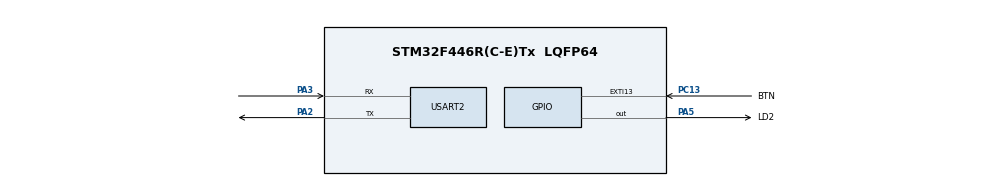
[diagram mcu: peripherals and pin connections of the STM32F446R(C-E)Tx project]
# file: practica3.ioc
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Mcu.Family=STM32F4
Mcu.Name=STM32F446R(C-E)Tx
Mcu.Package=LQFP64
NVIC.PriorityGroup=NVIC_PRIORITYGROUP_4
PA13.Mode=Serial_Wire
PA13.Signal=SYS_JTMS-SWDIO
PA14.Mode=Serial_Wire
PA14.Signal=SYS_JTCK-SWCLK
PA2.Mode=Asynchronous
PA2.Signal=USART2_TX
PA3.Mode=Asynchronous
PA3.Signal=USART2_RX
PA5.GPIO_Label=LD2
PA5.Signal=GPIO_Output
PC13.GPIO_Label=BTN
PC13.Signal=GPXTI13
ProjectManager.HeapSize=0x200
ProjectManager.StackSize=0x400
ProjectManager.TargetToolchain=STM32CubeIDE
RCC.CortexFreq_Value=16000000
RCC.USBFreq_Value=96000000
RCC.VCOOutputFreq_Value=192000000
USART2.VirtualMode=VM_ASYNC
board=custom

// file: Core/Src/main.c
/* USER CODE BEGIN Header */
/**
 ******************************************************************************
 * @file           : main.c
 * @brief          : Main program body
 ******************************************************************************
 * @attention
 *
 * Copyright (c) 2025 STMicroelectronics.
 * All rights reserved.
 *
 * This software is licensed under terms that can be found in the LICENSE file
 * in the root directory of this software component.
 * If no LICENSE file comes with this software, it is provided AS-IS.
 *
 ******************************************************************************
 */
/* USER CODE END Header */
#include "main.h"

/* USER CODE BEGIN Includes */

#include "practica.h"

/* USER CODE END Includes */

UART_HandleTypeDef huart2;

void SystemClock_Config(void);
static void MX_GPIO_Init(void);
static void MX_USART2_UART_Init(void);

/* USER CODE BEGIN 0 */

const tick_t T_100MS = 100; /**< Duración de 100 ms. */
const tick_t T_200MS = 200; /**< Duración de 200 ms. */
const tick_t T_500MS = 500; /**< Duración de 500 ms. */
const tick_t T_1S = 1000; /**< Duración de 1 segundo. */
const times_t MAX_TIMES = 5; /**< Número máximo de repeticiones. */

/* USER CODE END 0 */

int main(void)
{

  /* MCU Configuration--------------------------------------------------------*/

  /* Reset of all peripherals, Initializes the Flash interface and the Systick. */
  HAL_Init();

  /* Configure the system clock */
  SystemClock_Config();

  /* Initialize all configured peripherals */
  MX_GPIO_Init();
  MX_USART2_UART_Init();
  /* USER CODE BEGIN 2 */

	delay_t delay;
	delay_time_matrix_t timeMatrix;

	// Inicialización de la matriz de duraciones con el mismo valor de repeticiones para cada duración.
	duration_times_t durations[] = {
			{T_500MS, MAX_TIMES},
			{T_100MS, MAX_TIMES},
			{T_100MS, MAX_TIMES},
			{T_1S, MAX_TIMES}
	};

	// Inicialización de la matriz de duraciones.
	delayTimeMatrixInit(&timeMatrix, 4, durations);
	// Inicialización del delay.
	delayTimeMatrixDelayInit(&delay, &timeMatrix);

	// Inicialización de los pines y el estado del led.
	setupAll();

  /* USER CODE END 2 */

  /* Infinite loop */
  /* USER CODE BEGIN WHILE */

	while (1) {

		// Realiza la tarea.
		doTask(&delay, &timeMatrix);

    /* USER CODE END WHILE */

	}
}

void SystemClock_Config(void)
{
  RCC_OscInitTypeDef RCC_OscInitStruct = {0};
  RCC_ClkInitTypeDef RCC_ClkInitStruct = {0};

  /** Configure the main internal regulator output voltage
  */
  __HAL_RCC_PWR_CLK_ENABLE();
  __HAL_PWR_VOLTAGESCALING_CONFIG(PWR_REGULATOR_VOLTAGE_SCALE3);

  /** Initializes the RCC Oscillators according to the specified parameters
  * in the RCC_OscInitTypeDef structure.
  */
  RCC_OscInitStruct.OscillatorType = RCC_OSCILLATORTYPE_HSI;
  RCC_OscInitStruct.HSIState = RCC_HSI_ON;
  RCC_OscInitStruct.HSICalibrationValue = RCC_HSICALIBRATION_DEFAULT;
  RCC_OscInitStruct.PLL.PLLState = RCC_PLL_NONE;
  if (HAL_RCC_OscConfig(&RCC_OscInitStruct) != HAL_OK)
  {
    Error_Handler();
  }

  /** Initializes the CPU, AHB and APB buses clocks
  */
  RCC_ClkInitStruct.ClockType = RCC_CLOCKTYPE_HCLK|RCC_CLOCKTYPE_SYSCLK
                              |RCC_CLOCKTYPE_PCLK1|RCC_CLOCKTYPE_PCLK2;
  RCC_ClkInitStruct.SYSCLKSource = RCC_SYSCLKSOURCE_HSI;
  RCC_ClkInitStruct.AHBCLKDivider = RCC_SYSCLK_DIV1;
  RCC_ClkInitStruct.APB1CLKDivider = RCC_HCLK_DIV1;
  RCC_ClkInitStruct.APB2CLKDivider = RCC_HCLK_DIV1;

  if (HAL_RCC_ClockConfig(&RCC_ClkInitStruct, FLASH_LATENCY_0) != HAL_OK)
  {
    Error_Handler();
  }
}

static void MX_USART2_UART_Init(void)
{

  huart2.Instance = USART2;
  huart2.Init.BaudRate = 115200;
  huart2.Init.WordLength = UART_WORDLENGTH_8B;
  huart2.Init.StopBits = UART_STOPBITS_1;
  huart2.Init.Parity = UART_PARITY_NONE;
  huart2.Init.Mode = UART_MODE_TX_RX;
  huart2.Init.HwFlowCtl = UART_HWCONTROL_NONE;
  huart2.Init.OverSampling = UART_OVERSAMPLING_16;
  if (HAL_UART_Init(&huart2) != HAL_OK)
  {
    Error_Handler();
  }

}

static void MX_GPIO_Init(void)
{
  GPIO_InitTypeDef GPIO_InitStruct = {0};

  /* GPIO Ports Clock Enable */
  __HAL_RCC_GPIOC_CLK_ENABLE();
  __HAL_RCC_GPIOA_CLK_ENABLE();

  /*Configure GPIO pin Output Level */
  HAL_GPIO_WritePin(LD2_GPIO_Port, LD2_Pin, GPIO_PIN_RESET);

  /*Configure GPIO pin : BTN_Pin */
  GPIO_InitStruct.Pin = BTN_Pin;
  GPIO_InitStruct.Mode = GPIO_MODE_IT_RISING;
  GPIO_InitStruct.Pull = GPIO_NOPULL;
  HAL_GPIO_Init(BTN_GPIO_Port, &GPIO_InitStruct);

  /*Configure GPIO pin : LD2_Pin */
  GPIO_InitStruct.Pin = LD2_Pin;
  GPIO_InitStruct.Mode = GPIO_MODE_OUTPUT_PP;
  GPIO_InitStruct.Pull = GPIO_NOPULL;
  GPIO_InitStruct.Speed = GPIO_SPEED_FREQ_LOW;
  HAL_GPIO_Init(LD2_GPIO_Port, &GPIO_InitStruct);

}

void Error_Handler(void)
{
	__disable_irq();
	while (1) {
	}
}
